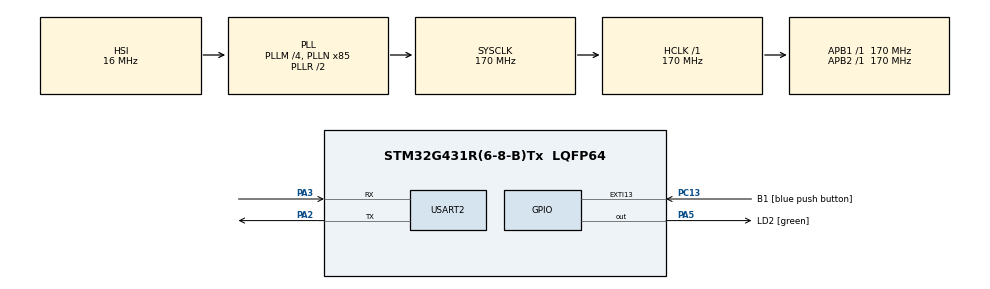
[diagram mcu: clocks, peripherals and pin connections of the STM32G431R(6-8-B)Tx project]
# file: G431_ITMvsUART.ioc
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Mcu.Family=STM32G4
Mcu.Name=STM32G431R(6-8-B)Tx
Mcu.Package=LQFP64
NVIC.PriorityGroup=NVIC_PRIORITYGROUP_4
PA13.GPIO_Label=T_SWDIO
PA13.Mode=Serial_Wire
PA13.Signal=SYS_JTMS-SWDIO
PA14.GPIO_Label=T_SWCLK
PA14.Mode=Serial_Wire
PA14.Signal=SYS_JTCK-SWCLK
PA2.Mode=Asynchronous
PA2.Signal=USART2_TX
PA3.Mode=Asynchronous
PA3.Signal=USART2_RX
PA5.GPIO_Label=LD2 [green]
PA5.Signal=GPIO_Output
PB3.GPIO_Label=T_SWO
PB3.Signal=SYS_JTDO-SWO
PC13.GPIO_Label=B1 [blue push button]
PC13.Signal=GPXTI13
PC14-OSC32_IN.GPIO_Label=RCC_OSC32_OUT
PC14-OSC32_IN.Signal=RCC_OSC32_IN
PC15-OSC32_OUT.GPIO_Label=RCC_OSC32_OUT
PC15-OSC32_OUT.Signal=RCC_OSC32_OUT
PF0-OSC_IN.GPIO_Label=RCC_OSC_IN
PF0-OSC_IN.Signal=RCC_OSC_IN
PF1-OSC_OUT.GPIO_Label=RCC_OSC_OUT
PF1-OSC_OUT.Signal=RCC_OSC_OUT
ProjectManager.HeapSize=0x200
ProjectManager.StackSize=0x400
ProjectManager.TargetToolchain=STM32CubeIDE
RCC.ADC12Freq_Value=170000000
RCC.AHBFreq_Value=170000000
RCC.APB1Freq_Value=170000000
RCC.APB1TimFreq_Value=170000000
RCC.APB2Freq_Value=170000000
RCC.APB2TimFreq_Value=170000000
RCC.CortexFreq_Value=170000000
RCC.EXTERNAL_CLOCK_VALUE=12288000
RCC.HCLKFreq_Value=170000000
RCC.HSE_VALUE=24000000
RCC.HSI48_VALUE=48000000
RCC.HSI_VALUE=16000000
RCC.LSE_VALUE=32768
RCC.PLLM=RCC_PLLM_DIV4
RCC.PLLN=85
RCC.RTCClockSelection=RCC_RTCCLKSOURCE_LSE
RCC.SYSCLKFreq_VALUE=170000000
RCC.SYSCLKSource=RCC_SYSCLKSOURCE_PLLCLK
RCC.USBFreq_Value=170000000
RCC.VCOOutputFreq_Value=340000000
USART2.VirtualMode-Asynchronous=VM_ASYNC
VP_SYS_VS_DBSignals.Mode=DisableDeadBatterySignals
board=NUCLEO-G431RB

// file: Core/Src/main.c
/* USER CODE BEGIN Header */
/**
  ******************************************************************************
  * @file           : main.c
  * @brief          : Main program body
  ******************************************************************************
  * @attention
  *
  * Copyright (c) 2025 STMicroelectronics.
  * All rights reserved.
  *
  * This software is licensed under terms that can be found in the LICENSE file
  * in the root directory of this software component.
  * If no LICENSE file comes with this software, it is provided AS-IS.
  *
  ******************************************************************************
  */
/* USER CODE END Header */
#include "main.h"

UART_HandleTypeDef huart2;

void SystemClock_Config(void);
static void MX_GPIO_Init(void);
static void MX_USART2_UART_Init(void);

/* USER CODE BEGIN 0 */
volatile uint32_t count_start, count_stop, count_elapsed;
float us_elapsed = 0.0f;

#include "stdio.h"
#ifdef __GNUC__
#define PUTCHAR_PROTOTYPE int __io_putchar(int ch)
#else
#define PUTCHAR_PROTOTYPE int fputc(int ch, FILE *f)
#endif

#define ITM_ON

/* Retargets the C library printf function */
PUTCHAR_PROTOTYPE
{
#ifdef ITM_ON
	ITM_SendChar(ch);
#else
    HAL_UART_Transmit(&huart2, (uint8_t *)&ch, 1, 0xFFFF);
#endif
    return ch;
}

char buffer[] =
		"Is this the real life? Is this just fantasy? \r\n"
		"Caught in a debug loop, no escape from reality\r\n"
		"Open your eyes, look up to the skies and see\r\n"
		"I'm just a poor boy, I need no sympathy\r\n"
		"Because I'm easy come, easy go\r\n"
		"Little high, little low\r\n"
		"Any way the wind blows doesn't really matter to me, to me... \r\n";
/* USER CODE END 0 */

int main(void)
{

  /* MCU Configuration--------------------------------------------------------*/

  /* Reset of all peripherals, Initializes the Flash interface and the Systick. */
  HAL_Init();

  /* Configure the system clock */
  SystemClock_Config();

  /* Initialize all configured peripherals */
  MX_GPIO_Init();
  MX_USART2_UART_Init();
  /* USER CODE BEGIN 2 */
  DWT->CTRL |= 1;
  CoreDebug->DEMCR |= 1 << 24;

  /* USER CODE END 2 */

  /* Infinite loop */
  /* USER CODE BEGIN WHILE */
  while (1)
  {
	  count_start = DWT->CYCCNT;
	  printf("%s", buffer);
	  count_stop = DWT->CYCCNT;
	  count_elapsed = count_stop - count_start;
	  printf("\r\nSize: %d, Elapsed count: %lu, Elapsed time: %.2f ms.\r\n", sizeof(buffer)-1, count_elapsed, count_elapsed/170000.0f);
	  HAL_GPIO_TogglePin(LD2_GPIO_Port, LD2_Pin);
	  HAL_Delay(2000);
    /* USER CODE END WHILE */

  }
}

void SystemClock_Config(void)
{
  RCC_OscInitTypeDef RCC_OscInitStruct = {0};
  RCC_ClkInitTypeDef RCC_ClkInitStruct = {0};

  /** Configure the main internal regulator output voltage
  */
  HAL_PWREx_ControlVoltageScaling(PWR_REGULATOR_VOLTAGE_SCALE1_BOOST);

  /** Initializes the RCC Oscillators according to the specified parameters
  * in the RCC_OscInitTypeDef structure.
  */
  RCC_OscInitStruct.OscillatorType = RCC_OSCILLATORTYPE_HSI;
  RCC_OscInitStruct.HSIState = RCC_HSI_ON;
  RCC_OscInitStruct.HSICalibrationValue = RCC_HSICALIBRATION_DEFAULT;
  RCC_OscInitStruct.PLL.PLLState = RCC_PLL_ON;
  RCC_OscInitStruct.PLL.PLLSource = RCC_PLLSOURCE_HSI;
  RCC_OscInitStruct.PLL.PLLM = RCC_PLLM_DIV4;
  RCC_OscInitStruct.PLL.PLLN = 85;
  RCC_OscInitStruct.PLL.PLLP = RCC_PLLP_DIV2;
  RCC_OscInitStruct.PLL.PLLQ = RCC_PLLQ_DIV2;
  RCC_OscInitStruct.PLL.PLLR = RCC_PLLR_DIV2;
  if (HAL_RCC_OscConfig(&RCC_OscInitStruct) != HAL_OK)
  {
    Error_Handler();
  }

  /** Initializes the CPU, AHB and APB buses clocks
  */
  RCC_ClkInitStruct.ClockType = RCC_CLOCKTYPE_HCLK|RCC_CLOCKTYPE_SYSCLK
                              |RCC_CLOCKTYPE_PCLK1|RCC_CLOCKTYPE_PCLK2;
  RCC_ClkInitStruct.SYSCLKSource = RCC_SYSCLKSOURCE_PLLCLK;
  RCC_ClkInitStruct.AHBCLKDivider = RCC_SYSCLK_DIV1;
  RCC_ClkInitStruct.APB1CLKDivider = RCC_HCLK_DIV1;
  RCC_ClkInitStruct.APB2CLKDivider = RCC_HCLK_DIV1;

  if (HAL_RCC_ClockConfig(&RCC_ClkInitStruct, FLASH_LATENCY_4) != HAL_OK)
  {
    Error_Handler();
  }
}

static void MX_USART2_UART_Init(void)
{

  huart2.Instance = USART2;
  huart2.Init.BaudRate = 1000000;//115200;
  huart2.Init.WordLength = UART_WORDLENGTH_8B;
  huart2.Init.StopBits = UART_STOPBITS_1;
  huart2.Init.Parity = UART_PARITY_NONE;
  huart2.Init.Mode = UART_MODE_TX_RX;
  huart2.Init.HwFlowCtl = UART_HWCONTROL_NONE;
  huart2.Init.OverSampling = UART_OVERSAMPLING_16;
  huart2.Init.OneBitSampling = UART_ONE_BIT_SAMPLE_DISABLE;
  huart2.Init.ClockPrescaler = UART_PRESCALER_DIV1;
  huart2.AdvancedInit.AdvFeatureInit = UART_ADVFEATURE_NO_INIT;
  if (HAL_UART_Init(&huart2) != HAL_OK)
  {
    Error_Handler();
  }
  if (HAL_UARTEx_SetTxFifoThreshold(&huart2, UART_TXFIFO_THRESHOLD_1_8) != HAL_OK)
  {
    Error_Handler();
  }
  if (HAL_UARTEx_SetRxFifoThreshold(&huart2, UART_RXFIFO_THRESHOLD_1_8) != HAL_OK)
  {
    Error_Handler();
  }
  if (HAL_UARTEx_DisableFifoMode(&huart2) != HAL_OK)
  {
    Error_Handler();
  }

}

static void MX_GPIO_Init(void)
{
  GPIO_InitTypeDef GPIO_InitStruct = {0};

  /* GPIO Ports Clock Enable */
  __HAL_RCC_GPIOC_CLK_ENABLE();
  __HAL_RCC_GPIOF_CLK_ENABLE();
  __HAL_RCC_GPIOA_CLK_ENABLE();
  __HAL_RCC_GPIOB_CLK_ENABLE();

  /*Configure GPIO pin Output Level */
  HAL_GPIO_WritePin(LD2_GPIO_Port, LD2_Pin, GPIO_PIN_RESET);

  /*Configure GPIO pin : B1_Pin */
  GPIO_InitStruct.Pin = B1_Pin;
  GPIO_InitStruct.Mode = GPIO_MODE_IT_RISING;
  GPIO_InitStruct.Pull = GPIO_NOPULL;
  HAL_GPIO_Init(B1_GPIO_Port, &GPIO_InitStruct);

  /*Configure GPIO pin : LD2_Pin */
  GPIO_InitStruct.Pin = LD2_Pin;
  GPIO_InitStruct.Mode = GPIO_MODE_OUTPUT_PP;
  GPIO_InitStruct.Pull = GPIO_NOPULL;
  GPIO_InitStruct.Speed = GPIO_SPEED_FREQ_LOW;
  HAL_GPIO_Init(LD2_GPIO_Port, &GPIO_InitStruct);

}

void Error_Handler(void)
{
  __disable_irq();
  while (1)
  {
  }
}
